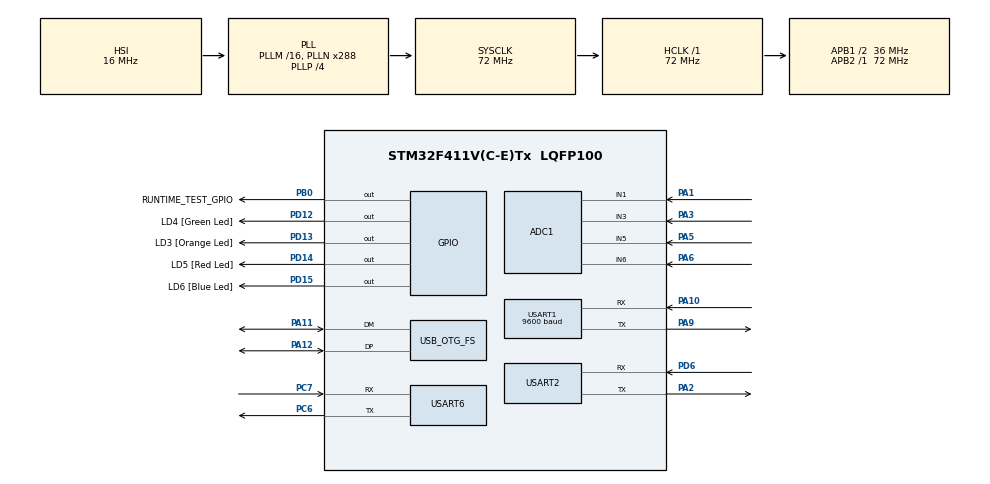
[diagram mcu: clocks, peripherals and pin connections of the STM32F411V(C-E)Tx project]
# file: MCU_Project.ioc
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ADC1.Channel-0\#ChannelRegularConversion=ADC_CHANNEL_1
ADC1.Channel-1\#ChannelRegularConversion=ADC_CHANNEL_3
ADC1.Channel-2\#ChannelRegularConversion=ADC_CHANNEL_5
ADC1.Channel-3\#ChannelRegularConversion=ADC_CHANNEL_6
ADC1.Channel-4\#ChannelRegularConversion=ADC_CHANNEL_VREFINT
ADC1.ClockPrescaler=ADC_CLOCK_SYNC_PCLK_DIV2
ADC1.DMAContinuousRequests=ENABLE
ADC1.DiscontinuousConvMode=ENABLE
ADC1.ExternalTrigConv=ADC_SOFTWARE_START
ADC1.NbrOfConversion=5
ADC1.NbrOfConversionFlag=1
ADC1.Rank-0\#ChannelRegularConversion=1
ADC1.Rank-1\#ChannelRegularConversion=2
ADC1.Rank-2\#ChannelRegularConversion=3
ADC1.Rank-3\#ChannelRegularConversion=4
ADC1.Rank-4\#ChannelRegularConversion=5
ADC1.SamplingTime-0\#ChannelRegularConversion=ADC_SAMPLETIME_15CYCLES
ADC1.SamplingTime-1\#ChannelRegularConversion=ADC_SAMPLETIME_15CYCLES
ADC1.SamplingTime-2\#ChannelRegularConversion=ADC_SAMPLETIME_15CYCLES
ADC1.SamplingTime-3\#ChannelRegularConversion=ADC_SAMPLETIME_15CYCLES
ADC1.SamplingTime-4\#ChannelRegularConversion=ADC_SAMPLETIME_15CYCLES
ADC1.ScanConvMode=ENABLE
ADC1.master=1
Dma.ADC1.0.Direction=DMA_PERIPH_TO_MEMORY
Dma.ADC1.0.FIFOMode=DMA_FIFOMODE_DISABLE
Dma.ADC1.0.Instance=DMA2_Stream0
Dma.ADC1.0.MemDataAlignment=DMA_MDATAALIGN_HALFWORD
Dma.ADC1.0.MemInc=DMA_MINC_ENABLE
Dma.ADC1.0.Mode=DMA_CIRCULAR
Dma.ADC1.0.PeriphDataAlignment=DMA_PDATAALIGN_HALFWORD
Dma.ADC1.0.PeriphInc=DMA_PINC_DISABLE
Dma.ADC1.0.Priority=DMA_PRIORITY_HIGH
Dma.Request0=ADC1
Mcu.Family=STM32F4
Mcu.Name=STM32F411V(C-E)Tx
Mcu.Package=LQFP100
NVIC.ADC_IRQn=true\:0\:0\:false\:false\:true\:true\:true\:true
NVIC.DMA2_Stream0_IRQn=true\:2\:0\:true\:false\:true\:false\:true\:true
NVIC.OTG_FS_IRQn=true\:0\:0\:false\:false\:true\:false\:true\:true
NVIC.PriorityGroup=NVIC_PRIORITYGROUP_4
NVIC.TIM2_IRQn=true\:1\:0\:true\:false\:true\:true\:true\:true
NVIC.TIM3_IRQn=true\:10\:0\:true\:false\:true\:true\:true\:true
NVIC.TIM4_IRQn=true\:8\:0\:true\:false\:true\:true\:true\:true
NVIC.USART1_IRQn=true\:4\:0\:true\:false\:true\:true\:true\:true
NVIC.USART2_IRQn=true\:5\:0\:true\:false\:true\:true\:true\:true
NVIC.USART6_IRQn=true\:6\:0\:true\:false\:true\:true\:true\:true
PA1.Signal=ADCx_IN1
PA10.Mode=Asynchronous
PA10.Signal=USART1_RX
PA11.Mode=Device_Only
PA11.Signal=USB_OTG_FS_DM
PA12.Mode=Device_Only
PA12.Signal=USB_OTG_FS_DP
PA13.GPIO_Label=SWDIO
PA13.Mode=Serial_Wire
PA13.Signal=SYS_JTMS-SWDIO
PA14.GPIO_Label=SWCLK
PA14.Mode=Serial_Wire
PA14.Signal=SYS_JTCK-SWCLK
PA2.Mode=Asynchronous
PA2.Signal=USART2_TX
PA3.Signal=ADCx_IN3
PA5.Signal=ADCx_IN5
PA6.Signal=ADCx_IN6
PA9.Mode=Asynchronous
PA9.Signal=USART1_TX
PB0.GPIO_Label=RUNTIME_TEST_GPIO
PB0.GPIO_PuPd=GPIO_PULLDOWN
PB0.GPIO_Speed=GPIO_SPEED_FREQ_VERY_HIGH
PB0.Signal=GPIO_Output
PC14-OSC32_IN.GPIO_Label=PC14-OSC32_IN
PC14-OSC32_IN.Mode=LSE-External-Oscillator
PC14-OSC32_IN.Signal=RCC_OSC32_IN
PC15-OSC32_OUT.GPIO_Label=PC15-OSC32_OUT
PC15-OSC32_OUT.Mode=LSE-External-Oscillator
PC15-OSC32_OUT.Signal=RCC_OSC32_OUT
PC6.Mode=Asynchronous
PC6.Signal=USART6_TX
PC7.Mode=Asynchronous
PC7.Signal=USART6_RX
PD12.GPIO_Label=LD4 [Green Led]
PD12.GPIO_PuPd=GPIO_NOPULL
PD12.GPIO_Speed=GPIO_SPEED_FREQ_LOW
PD12.Signal=GPIO_Output
PD13.GPIO_Label=LD3 [Orange Led]
PD13.GPIO_PuPd=GPIO_NOPULL
PD13.GPIO_Speed=GPIO_SPEED_FREQ_LOW
PD13.Signal=GPIO_Output
PD14.GPIO_Label=LD5 [Red Led]
PD14.GPIO_PuPd=GPIO_NOPULL
PD14.GPIO_Speed=GPIO_SPEED_FREQ_LOW
PD14.Signal=GPIO_Output
PD15.GPIO_Label=LD6 [Blue Led]
PD15.GPIO_PuPd=GPIO_NOPULL
PD15.GPIO_Speed=GPIO_SPEED_FREQ_LOW
PD15.Signal=GPIO_Output
PD6.Mode=Asynchronous
PD6.Signal=USART2_RX
PH0\ -\ OSC_IN.GPIO_Label=PH0-OSC_IN
PH0\ -\ OSC_IN.Mode=HSE-External-Clock-Source
PH0\ -\ OSC_IN.Signal=RCC_OSC_IN
PH1\ -\ OSC_OUT.GPIO_Label=PH1-OSC_OUT
PH1\ -\ OSC_OUT.Mode=HSE-External-Clock-Source
PH1\ -\ OSC_OUT.Signal=RCC_OSC_OUT
ProjectManager.HeapSize=0x1000
ProjectManager.StackSize=0x800
ProjectManager.TargetToolchain=MDK-ARM V5.32
RCC.48MHZClocksFreq_Value=48000000
RCC.AHBFreq_Value=72000000
RCC.APB1CLKDivider=RCC_HCLK_DIV2
RCC.APB1Freq_Value=36000000
RCC.APB1TimFreq_Value=72000000
RCC.APB2Freq_Value=72000000
RCC.APB2TimFreq_Value=72000000
RCC.CortexFreq_Value=72000000
RCC.HCLKFreq_Value=72000000
RCC.HSE_VALUE=8000000
RCC.HSI_VALUE=16000000
RCC.PLLI2SM=5
RCC.PLLI2SN=200
RCC.PLLN=288
RCC.PLLP=RCC_PLLP_DIV4
RCC.PLLQ=6
RCC.PLLSource=RCC_PLLSOURCE_HSI
RCC.PLLSourceVirtualString=RCC_PLLSOURCE_HSI
RCC.SYSCLKFreq_VALUE=72000000
RCC.SYSCLKSource=RCC_SYSCLKSOURCE_PLLCLK
RCC.VCOOutputFreq_Value=288000000
SH.ADCx_IN1.0=ADC1_IN1,IN1
SH.ADCx_IN3.0=ADC1_IN3,IN3
SH.ADCx_IN5.0=ADC1_IN5,IN5
SH.ADCx_IN6.0=ADC1_IN6,IN6
STMicroelectronics.X-CUBE-ALGOBUILD.1.3.0.LibraryCcDSPOoLibraryJjDSPOoLibrary=true
TIM2.AutoReloadPreload=TIM_AUTORELOAD_PRELOAD_ENABLE
TIM2.Period=50-1
TIM2.Prescaler=720-1
TIM2.TIM_MasterOutputTrigger=TIM_TRGO_RESET
TIM3.AutoReloadPreload=TIM_AUTORELOAD_PRELOAD_DISABLE
TIM3.Period=1000-1
TIM3.Prescaler=720-1
TIM4.Period=5000-1
TIM4.Prescaler=720-1
USART1.BaudRate=9600
USART1.VirtualMode=VM_ASYNC
USART2.VirtualMode=VM_ASYNC
USART6.VirtualMode=VM_ASYNC
USB_DEVICE.CLASS_NAME_FS=CDC
USB_DEVICE.VirtualMode=Cdc
USB_DEVICE.VirtualModeFS=Cdc_FS
USB_OTG_FS.VirtualMode=Device_Only
VP_ADC1_Vref_Input.Mode=IN-Vrefint
VP_STMicroelectronics.X-CUBE-ALGOBUILD_VS_DSPOoLibraryJjLibrary_1.3.0_1.3.0.Mode=DSPOoLibraryJjLibrary
VP_TIM2_VS_ClockSourceINT.Mode=Internal
VP_TIM3_VS_ClockSourceINT.Mode=Internal
VP_TIM4_VS_ClockSourceINT.Mode=Internal
VP_USB_DEVICE_VS_USB_DEVICE_CDC_FS.Mode=CDC_FS
board=STM32F411E-DISCO

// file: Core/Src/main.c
/* USER CODE BEGIN Header */
/**
  ******************************************************************************
  * @file           : main.c
  * @brief          : Main program body
  ******************************************************************************
  * @attention
  *
  * <h2><center>&copy; Copyright (c) 2022 STMicroelectronics.
  * All rights reserved.</center></h2>
  *
  * This software component is licensed by ST under BSD 3-Clause license,
  * the "License"; You may not use this file except in compliance with the
  * License. You may obtain a copy of the License at:
  *                        opensource.org/licenses/BSD-3-Clause
  *
  ******************************************************************************
  */
/* USER CODE END Header */
#include "main.h"
#include "adc.h"
#include "dma.h"
#include "tim.h"
#include "usart.h"
#include "usb_device.h"
#include "gpio.h"

/* USER CODE BEGIN Includes */

/*
	This file contains basic operations on the ADC, including
	initialization, reading data, returning data, and so on
*/
#include "ADC_Operation.h"

/*
	Header files for functions related to serial port 2 redirection,
	serial port 6 send string, analog redirection, enable serial port receive interrupt,
	and serial port 1 operations
*/
#include "USART_Printf.h"

/*
	Contains a header file for a function that uses serial port 6 to
	send instructions to control the bus steering gear
*/
#include "ServoMotor_Control.h"
/*
	The functions include reading and writing gyroscope data through serial port 1,
	enabling serial port 1 to receive interrupt, and parsing gyroscope data
*/
#include "USART_Gyroscope.h"

/*
	Mean filtering of channel 1, 3, 4, 5 and reference channel of ADC1
*/
#include "ADC_Function.h"

/*
	The file includes commonly used digital filtering,
    frequency domain transformation and motion control algorithms
*/
#include "DigtalSignal_Process.h"

/*
	This file includes the declaration of the function for
    mean filtering the motion data collected by the gyroscope
*/
#include "GyroscopeData_Process.h"

/*
    This file defines the structure and functions for sending data to the upmachine
*/
#include "SendData_Function.h"

/*
    This file includes the ARM digital signal processing related firmware library
*/
#include "arm_math.h"
#include "arm_const_structs.h"
/*
    The virtual serial port sends related header files
*/
#include "usbd_cdc_if.h"

/*
    This file includes definition of serial port panel control function
    and related data structure definition
*/
#include "HMI_Control.h"

/*
    This file includes serial port panel curve update function, serial port panel data display function,
    and related structure declaration
*/
#include "HMI_Function.h"

/* USER CODE END Includes */

/* USER CODE BEGIN PV */

/* A variable that stores the return value of a function for easy debugging */
static t_FuncRet ret = Operation_Success;
/* A variable used to indicate whether hardware initialization was successful */
static volatile bool HardwareComplete_Flag = (bool)FALSE;

/*
Note: global variables are used here only to see the value of the variable.
They are not used when the program is running
*/
#ifdef CODE_TEST
/*
	The following functions are only used for software development and debugging,
	and are not required for official launch
*/

/* Adc-related static global variables */
static uint16_t Sensor1_V_Data          = 3300;
static uint16_t Sensor2_V_Data          = 2900;
static uint16_t Sensor3_V_Data          = 1500;
static uint16_t Sensor4_V_Data          = 1000;
static uint16_t Vref                    = 800;
volatile static uint32_t sample_count   = 400;

static float Sensor1_V_Data_F           = 0;
static float Sensor2_V_Data_F           = 0;
static float Sensor3_V_Data_F           = 0;
static float Sensor4_V_Data_F           = 0;
static float Vref_F                     = 0;

/* Servo Motor Postion(Angle) */
volatile static int32_t Angle           = 0;

/* Gyroscope related data */
/*
	Gyroscope calibration count variable: when count is 10, acceleration and Z-axis Angle calibration is started
*/
volatile static float angle_x           = 90.71;
volatile static float angle_y           = 43.75;
volatile static float angle_z           = 0;

volatile static float acc_x 	        = 12.75;
volatile static float acc_y 	        = 33.33;
volatile static float acc_z 	        = 0;

volatile static float gyro_x            = 0;
volatile static float gyro_y            = 0;
volatile static float gyro_z            = 0;

/* Manipulator control related variables */

volatile static uint8_t temp_id		    = 0;
volatile static int32_t angle 	        = 0;
volatile static int16_t position        = 0;
volatile static int32_t wait_time 	    = 0;

/* HMI related data */
volatile static HMI_Control_Num_Component       Test_NumberCP;
volatile static HMI_Control_Curve_Component     Test_CurveCP;

volatile static uint16_t test_value_0 = 1200;
volatile static uint16_t test_value_1 = 2400;
volatile static uint16_t test_value_2 = 270;
volatile static uint16_t test_value_3 = 3290;

#endif

/* USER CODE END PV */

void SystemClock_Config(void);
/* USER CODE BEGIN PFP */

/* Peripheral initialization function */
t_FuncRet Hardware_Init(void);

/* Serial port 6 The receiver is cleared periodically */
extern void USART6_RecvDataClear(void);

/* USER CODE END PFP */

int main(void)
{

  /* MCU Configuration--------------------------------------------------------*/

  /* Reset of all peripherals, Initializes the Flash interface and the Systick. */
  HAL_Init();

  /* Configure the system clock */
  SystemClock_Config();

  /* Initialize all configured peripherals */
  MX_GPIO_Init();
  MX_DMA_Init();
  MX_ADC1_Init();
  MX_USART1_UART_Init();
  MX_USART2_UART_Init();
  MX_USART6_UART_Init();
  MX_TIM2_Init();
  MX_TIM3_Init();
  MX_TIM4_Init();
  MX_USB_DEVICE_Init();
  /* USER CODE BEGIN 2 */

  /* Peripheral initialization function */

  ret = Hardware_Init();

  #ifdef USE_FULL_ASSERT
		assert_param(ret != Operation_Fail);
  #endif

  if(ret == Operation_Fail)
  {
  	printf("Failed to initialize Hardware Procedure\r\n");
    HardwareComplete_Flag = (bool)FALSE;
	Error_Handler();
  }
  else
  {
    printf("Success to initialize Hardware Procedure\r\n");
    HardwareComplete_Flag = (bool)TRUE;
  }

  /* USER CODE END 2 */

  /* Infinite loop */
  while (1)
  {

    /* USER CODE BEGIN 3 */
    HMI_Function_Test();
  }
  /* USER CODE END 3 */
}

void SystemClock_Config(void)
{
  RCC_OscInitTypeDef RCC_OscInitStruct = {0};
  RCC_ClkInitTypeDef RCC_ClkInitStruct = {0};

  /** Configure the main internal regulator output voltage
  */
  __HAL_RCC_PWR_CLK_ENABLE();
  __HAL_PWR_VOLTAGESCALING_CONFIG(PWR_REGULATOR_VOLTAGE_SCALE1);
  /** Initializes the RCC Oscillators according to the specified parameters
  * in the RCC_OscInitTypeDef structure.
  */
  RCC_OscInitStruct.OscillatorType = RCC_OSCILLATORTYPE_HSI;
  RCC_OscInitStruct.HSIState = RCC_HSI_ON;
  RCC_OscInitStruct.HSICalibrationValue = RCC_HSICALIBRATION_DEFAULT;
  RCC_OscInitStruct.PLL.PLLState = RCC_PLL_ON;
  RCC_OscInitStruct.PLL.PLLSource = RCC_PLLSOURCE_HSI;
  RCC_OscInitStruct.PLL.PLLM = 16;
  RCC_OscInitStruct.PLL.PLLN = 288;
  RCC_OscInitStruct.PLL.PLLP = RCC_PLLP_DIV4;
  RCC_OscInitStruct.PLL.PLLQ = 6;
  if (HAL_RCC_OscConfig(&RCC_OscInitStruct) != HAL_OK)
  {
    Error_Handler();
  }
  /** Initializes the CPU, AHB and APB buses clocks
  */
  RCC_ClkInitStruct.ClockType = RCC_CLOCKTYPE_HCLK|RCC_CLOCKTYPE_SYSCLK
                              |RCC_CLOCKTYPE_PCLK1|RCC_CLOCKTYPE_PCLK2;
  RCC_ClkInitStruct.SYSCLKSource = RCC_SYSCLKSOURCE_PLLCLK;
  RCC_ClkInitStruct.AHBCLKDivider = RCC_SYSCLK_DIV1;
  RCC_ClkInitStruct.APB1CLKDivider = RCC_HCLK_DIV2;
  RCC_ClkInitStruct.APB2CLKDivider = RCC_HCLK_DIV1;

  if (HAL_RCC_ClockConfig(&RCC_ClkInitStruct, FLASH_LATENCY_2) != HAL_OK)
  {
    Error_Handler();
  }
}

/* USER CODE BEGIN 4 */

/**
* @description: Peripheral initialization function
* @param  {void}
* @return {t_FuncRet} : if success,return Operation_Success
* @author: leeqingshui
*/
t_FuncRet Hardware_Init(void)
{
	HAL_Delay(500);
	printf("====The system starts to initialize hardware====\r\n");

	/* Initialize ADC related peripherals: ADC GPIO port and DMA channel*/
    /* The interruption of timer 2 was enabled */
    /*
		Timer 2 is interrupted periodically(Fre = 2000Hz),
		and Implementation of ADC timing multi - channel sampling conversion
	*/
	HAL_Delay(1000);
	ret= ADC_Operation_Init();
	if(ret == Operation_Fail)
	{
		printf("Failed to initialize ADC. Procedure\r\n");
		Error_Handler();
	}
	printf("success to initialize ADC Procedure\r\n");

	#ifdef USE_FULL_ASSERT
		assert_param(ret != Operation_Fail);
	#endif

	/* Enable serial port 6 Interrupt receiving (control the action of the manipulator through serial port 6) */
	HAL_Delay(1000);
	ret = USART6_Start_IT();
	if(ret == Operation_Fail)
	{
		printf("Failed to initialize USART6 IT\r\n");
		Error_Handler();
	}
	printf("success to initialize USART6 IT\r\n");

	#ifdef USE_FULL_ASSERT
		assert_param(ret != Operation_Fail);
    #endif

	/* Enable serial port 1 Interrupt receiving (Read and write gyroscope data through serial port 1) */
	HAL_Delay(1000);
	ret = USART1_Start_IT();
	if(ret == Operation_Fail)
	{
		printf("Failed to initialize USART1 IT\r\n");
		Error_Handler();
	}
	printf("success to initialize USART1 IT\r\n");

	#ifdef USE_FULL_ASSERT
		assert_param(ret != Operation_Fail);
	#endif

    /* Enable serial port 2 Interrupt receiving */
	HAL_Delay(1000);
	ret = USART2_Start_IT();
	if(ret == Operation_Fail)
	{
		printf("Failed to initialize USART2 IT\r\n");
		Error_Handler();
	}
	printf("success to initialize USART2 IT\r\n");

	#ifdef USE_FULL_ASSERT
		assert_param(ret != Operation_Fail);
	#endif

	/* Steering gear control test: Control rotation of No. 0 to 6 steering gear */
    /* The interruption of timer 3 was enabled */
    /*
		Timer 3 is interrupted periodically(Fre = 100Hz),
		and the receive clearance function of serial port 6 is invoked
	*/
	HAL_Delay(1000);
	ret = ServoMotor_Control_Init();
	if(ret == Operation_Fail)
	{
		printf("Failed to initialize ServoMotor\r\n");
		Error_Handler();
	}
	printf("success to initialize ServoMotor\r\n");

	#ifdef USE_FULL_ASSERT
		assert_param(ret != Operation_Fail);
	#endif

	/* Gyroscope initialization: acceleration calibration and Z-axis Angle calibration */
    /* The interruption of timer 4 was enabled */
    /*
        Timer 4 Periodic interrupt (Fre = 20Hz)
        and is used for timed data return of serial gyro JY-60
    */
	HAL_Delay(1000);
	ret = Gyroscope_Calibration();
	if(ret == Operation_Fail)
	{
		printf("Failed to initialize Gyroscope\r\n");
		Error_Handler();
	}
	printf("success to initialize Gyroscope\r\n");

	HAL_Delay(1000);
	/* After the device is powered on, the device delays */
	printf("Device power-on delay 500 ms, please wait\r\n");
	HAL_Delay(500);

	return ret;
}

/* A function to indicate whether hardware initialization is complete */
t_FuncRet IsCompleteHardwareInit(void)
{
    t_FuncRet ret = Operation_Wait;

    if(HardwareComplete_Flag == (bool)FALSE)
    {
        ret = Operation_Fail;
    }
    else if(HardwareComplete_Flag == (bool)TRUE)
    {
        ret = Operation_Success;
    }

    return ret;
}

#ifdef CODE_TEST
/*
	The following functions are only used for software development and debugging,
	and are not required for official launch
*/

/* ADC Original voltage output test */
void ADC_Original_Value_Test(void)
{
	/* Enable ADC multi-channel DMA acquisition */
    ret= ADC_Get_Data();
	if(ret == Operation_Fail)
	{
		Error_Handler();
	}

    /* Obtain the voltage of no. 1 EMG sensor */
	ret= ADC_Get_SensorData_1(&Sensor1_V_Data);
	if(ret == Operation_Fail)
	{
		Error_Handler();
	}

	/* Obtain the voltage of no. 2 EMG sensor */
	ret= ADC_Get_SensorData_2(&Sensor2_V_Data);
	if(ret == Operation_Fail)
	{
		Error_Handler();
	}

	/* Obtain the voltage of no. 3 EMG sensor */
	ret= ADC_Get_SensorData_3(&Sensor3_V_Data);
	if(ret == Operation_Fail)
	{
		Error_Handler();
	}

	/* Obtain the voltage of no. 4 EMG sensor */
	ret= ADC_Get_SensorData_4(&Sensor4_V_Data);
	if(ret == Operation_Fail)
	{
		Error_Handler();
	}

	/* Obtain the voltage of Vref */
	ret= ADC_Get_Vref(&Vref);
	if(ret == Operation_Fail)
	{
		Error_Handler();
	}
}

/* ADC MeanFilter voltage output test */
void ADC_MeanFilter_Value_Test(void)
{
	ret = Get_ADC_MeanFilter_Value(&Sensor1_V_Data, &Sensor2_V_Data, &Sensor3_V_Data, &Sensor4_V_Data, &Vref);
	if(ret == Operation_Fail)
	{
		Error_Handler();
	}
}

/* ADC KalmanFilter voltage output test */
void ADC_KalmanFilter_Value_Test(void)
{
	ret = Get_ADC_KalmanFilter_Value(&Sensor1_V_Data_F, &Sensor2_V_Data_F, &Sensor3_V_Data_F, &Sensor4_V_Data_F, &Vref_F);
	if(ret == Operation_Fail)
	{
		Error_Handler();
	}
}

/* Serial port gyroscope Original movement data output test */
void USART_Gyroscope_Original_Test(void)
{
	angle_x = Get_Xaxis_Angle();
	angle_y = Get_Yaxis_Angle();
	angle_z = Get_Zaxis_Angle();

	acc_x 	= Get_Xaxis_Acc();
	acc_y   = Get_Yaxis_Acc();
	acc_z   = Get_Zaxis_Acc();

	gyro_x  = Get_Xaxis_Angle_Acc();
	gyro_y  = Get_Yaxis_Angle_Acc();
	gyro_z  = Get_Zaxis_Angle_Acc();
}

/* Serial port gyroscope MeanFilter movement data output test */
void USART_Gyroscope_MeanFilter_Test(void)
{
	ret = Get_MotionData_MeanFilter_Value((float*)&angle_x ,
										  (float*)&angle_y ,
						                  (float*)&angle_z ,
						                  (float*)&gyro_x  ,
								          (float*)&gyro_y  ,
						                  (float*)&gyro_z );
}

/* HMI serial port screen test function */
void HMI_Control_Test(void)
{
    Test_NumberCP.Num_Component_ID          = Num_ID_0;
    Test_NumberCP.Num_Component_Val         = 2200;

    Test_CurveCP.Curve_Component_Channel    = 0;
    Test_CurveCP.Curve_Component_ID         = Num_ID_1;
    Test_CurveCP.Curve_Component_Val        = 135;

    ret = HMI_Control_Set_NumComponent_Value((HMI_Control_Num_Component*)&Test_NumberCP);
    #ifdef USE_FULL_ASSERT
        assert_param(ret != Operation_Fail);
	#endif

    ret = HMI_Control_Set_CurveComponent_Value((HMI_Control_Curve_Component*)&Test_CurveCP);
    #ifdef USE_FULL_ASSERT
        assert_param(ret != Operation_Fail);
	#endif
}

/* HMI Test function of the serial port screen */
void HMI_Function_Test(void)
{
    ret = HMI_Refresh_Curve_Component((uint16_t*)&Sensor1_V_Data, (uint16_t*)&Sensor2_V_Data, (uint16_t*)&Sensor3_V_Data, (uint16_t*)&Sensor4_V_Data);
    #ifdef USE_FULL_ASSERT
        assert_param(ret != Operation_Fail);
	#endif

    ret = HMI_Refresh_Num_Component((uint16_t*)&test_value_0,
                                    (uint16_t*)&test_value_1,
                                    (uint16_t*)&test_value_2,
                                    (uint16_t*)&test_value_3,

                                    (uint16_t*)&test_value_2,
                                    (uint16_t*)&test_value_2,
                                    (uint16_t*)&test_value_2,
                                    (uint16_t*)&test_value_2,

                                    (uint16_t*)&test_value_0,
                                    (uint16_t*)&test_value_0,
                                    (uint16_t*)&test_value_3,
                                    (uint16_t*)&test_value_3
                                    );
    #ifdef USE_FULL_ASSERT
        assert_param(ret != Operation_Fail);
	#endif
}

#endif
/* USER CODE END 4 */

void Error_Handler(void)
{
  /* USER CODE BEGIN Error_Handler_Debug */
  /* User can add his own implementation to report the HAL error return state */
  /* when error , At this time, LD3, LD4, LD5, and LD6 blink on the development board */
  while (1)
  {
	HAL_GPIO_TogglePin(LD3_GPIO_Port, LD3_Pin);
	HAL_GPIO_TogglePin(LD4_GPIO_Port, LD4_Pin);
	HAL_GPIO_TogglePin(LD5_GPIO_Port, LD5_Pin);
	HAL_GPIO_TogglePin(LD6_GPIO_Port, LD6_Pin);

	HAL_Delay(100);
  }
  /* USER CODE END Error_Handler_Debug */
}

#ifdef  USE_FULL_ASSERT
/**
  * @brief  Reports the name of the source file and the source line number
  *         where the assert_param error has occurred.
  * @param  file: pointer to the source file name
  * @param  line: assert_param error line source number
  * @retval None
  */
void assert_failed(uint8_t *file, uint32_t line)
{
  /* USER CODE BEGIN 6 */
  /* User can add his own implementation to report the file name and line number,
     ex: printf("Wrong parameters value: file %s on line %d\r\n", file, line) */
	printf("Wrong parameters value: file %s on line %d\r\n", file, line);
	while(1);

  /* USER CODE END 6 */
}
#endif /* USE_FULL_ASSERT */

/************************ (C) COPYRIGHT STMicroelectronics *****END OF FILE****/
